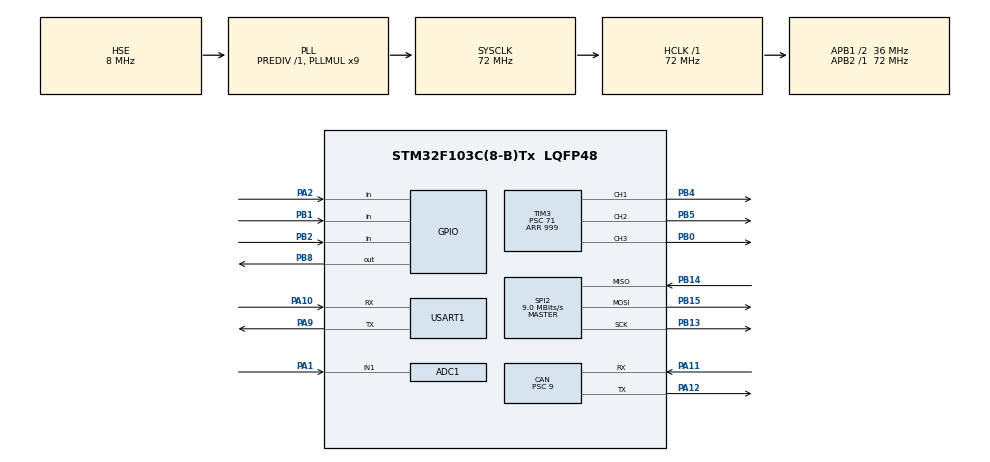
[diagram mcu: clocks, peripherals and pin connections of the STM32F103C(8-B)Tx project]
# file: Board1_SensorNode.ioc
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ADC1.Channel-1\#ChannelRegularConversion=ADC_CHANNEL_1
ADC1.ContinuousConvMode=ENABLE
ADC1.NbrOfConversionFlag=1
ADC1.Rank-1\#ChannelRegularConversion=1
ADC1.SamplingTime-1\#ChannelRegularConversion=ADC_SAMPLETIME_1CYCLE_5
ADC1.master=1
CAN.BS1=CAN_BS1_5TQ
CAN.BS2=CAN_BS2_2TQ
CAN.CalculateBaudRate=500000
CAN.CalculateTimeBit=2000
CAN.CalculateTimeQuantum=250.0
CAN.Mode=CAN_MODE_LOOPBACK
CAN.Prescaler=9
Dma.ADC1.0.Direction=DMA_PERIPH_TO_MEMORY
Dma.ADC1.0.Instance=DMA1_Channel1
Dma.ADC1.0.MemDataAlignment=DMA_MDATAALIGN_HALFWORD
Dma.ADC1.0.MemInc=DMA_MINC_ENABLE
Dma.ADC1.0.Mode=DMA_CIRCULAR
Dma.ADC1.0.PeriphDataAlignment=DMA_PDATAALIGN_HALFWORD
Dma.ADC1.0.PeriphInc=DMA_PINC_DISABLE
Dma.ADC1.0.Priority=DMA_PRIORITY_LOW
Dma.Request0=ADC1
FREERTOS.Tasks01=defaultTask,24,128,StartDefaultTask,Default,NULL,Dynamic,NULL,NULL
FREERTOS.configTOTAL_HEAP_SIZE=10240
Mcu.Family=STM32F1
Mcu.Name=STM32F103C(8-B)Tx
Mcu.Package=LQFP48
NVIC.DMA1_Channel1_IRQn=true\:5\:0\:false\:false\:true\:true\:false\:true\:true
NVIC.PriorityGroup=NVIC_PRIORITYGROUP_4
PA1.Signal=ADCx_IN1
PA10.Mode=Asynchronous
PA10.Signal=USART1_RX
PA11.Mode=CAN_Activate
PA11.Signal=CAN_RX
PA12.Mode=CAN_Activate
PA12.Signal=CAN_TX
PA13.Mode=Serial_Wire
PA13.Signal=SYS_JTMS-SWDIO
PA14.Mode=Serial_Wire
PA14.Signal=SYS_JTCK-SWCLK
PA2.GPIO_PuPd=GPIO_PULLUP
PA2.Signal=GPIO_Input
PA9.Mode=Asynchronous
PA9.Signal=USART1_TX
PB0.Signal=S_TIM3_CH3
PB1.GPIO_PuPd=GPIO_PULLUP
PB1.Signal=GPIO_Input
PB13.Mode=Full_Duplex_Master
PB13.Signal=SPI2_SCK
PB14.Mode=Full_Duplex_Master
PB14.Signal=SPI2_MISO
PB15.Mode=Full_Duplex_Master
PB15.Signal=SPI2_MOSI
PB2.GPIO_PuPd=GPIO_PULLUP
PB2.Signal=GPIO_Input
PB4.Signal=S_TIM3_CH1
PB5.Signal=S_TIM3_CH2
PB8.Signal=GPIO_Output
PD0-OSC_IN.Mode=HSE-External-Oscillator
PD0-OSC_IN.Signal=RCC_OSC_IN
PD1-OSC_OUT.Mode=HSE-External-Oscillator
PD1-OSC_OUT.Signal=RCC_OSC_OUT
ProjectManager.HeapSize=0x200
ProjectManager.StackSize=0x400
ProjectManager.TargetToolchain=Makefile
RCC.ADCPresc=RCC_ADCPCLK2_DIV6
RCC.AHBFreq_Value=72000000
RCC.APB1CLKDivider=RCC_HCLK_DIV2
RCC.APB1Freq_Value=36000000
RCC.APB1TimFreq_Value=72000000
RCC.APB2Freq_Value=72000000
RCC.APB2TimFreq_Value=72000000
RCC.HCLKFreq_Value=72000000
RCC.PLLMUL=RCC_PLL_MUL9
RCC.PLLSourceVirtual=RCC_PLLSOURCE_HSE
RCC.SYSCLKFreq_VALUE=72000000
RCC.SYSCLKSource=RCC_SYSCLKSOURCE_PLLCLK
RCC.USBFreq_Value=72000000
SH.ADCx_IN1.0=ADC1_IN1,IN1
SH.S_TIM3_CH1.0=TIM3_CH1,PWM Generation1 CH1
SH.S_TIM3_CH2.0=TIM3_CH2,PWM Generation2 CH2
SH.S_TIM3_CH3.0=TIM3_CH3,PWM Generation3 CH3
SPI2.BaudRatePrescaler=SPI_BAUDRATEPRESCALER_4
SPI2.CalculateBaudRate=9.0 MBits/s
SPI2.Direction=SPI_DIRECTION_2LINES
SPI2.Mode=SPI_MODE_MASTER
SPI2.VirtualType=VM_MASTER
TIM3.Channel-PWM\ Generation1\ CH1=TIM_CHANNEL_1
TIM3.Channel-PWM\ Generation2\ CH2=TIM_CHANNEL_2
TIM3.Channel-PWM\ Generation3\ CH3=TIM_CHANNEL_3
TIM3.Period=999
TIM3.Prescaler=71
USART1.VirtualMode=VM_ASYNC
VP_FREERTOS_VS_CMSIS_V2.Mode=CMSIS_V2
board=custom

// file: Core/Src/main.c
/* USER CODE BEGIN Header */
/**
 ******************************************************************************
 * @file           : main.c
 * @brief          : Board1 — 传感器采集节点  FreeRTOS + CAN TX
 ******************************************************************************
 */
/* USER CODE END Header */
#include "main.h"
#include "cmsis_os.h"

/* USER CODE BEGIN Includes */
#include "dht11.h"
#include "rgb_led.h"
#include "adc_dma.h"
#include "w25q64.h"
#include "can_protocol.h"
#include "system_status.h"
#include "key.h"
#include "rgb_modes.h"
#include "threshold.h"
#include "can_command.h"
#include <stdio.h>
#include <string.h>
/* USER CODE END Includes */

/* USER CODE BEGIN PTD */

typedef struct {
    DHT11_Data_t dht11;
    ADC_Data_t   adc;
    TickType_t   tick;
} SensorData_t;

/* USER CODE END PTD */

/* USER CODE BEGIN PD */

#define SENSOR_QUEUE_SIZE     8
#define EVENT_SENSOR_OK       0x0001
#define EVENT_SENSOR_ERROR    0x0002
#define EVENT_CAN_TX_DONE     0x0004

/* USER CODE END PD */

ADC_HandleTypeDef hadc1;
DMA_HandleTypeDef hdma_adc1;

CAN_HandleTypeDef hcan;

SPI_HandleTypeDef hspi2;

TIM_HandleTypeDef htim3;

UART_HandleTypeDef huart1;

/* Definitions for defaultTask */
osThreadId_t defaultTaskHandle;
const osThreadAttr_t defaultTask_attributes = {
  .name = "defaultTask",
  .stack_size = 128 * 4,
  .priority = (osPriority_t) osPriorityNormal,
};
/* USER CODE BEGIN PV */

/* ADC DMA 循环缓冲区 (2通道 × 16采样 = 32) */
uint16_t adc_dma_buffer[ADC_BUF_SIZE];

/* FreeRTOS 对象 */
osMessageQueueId_t SensorDataQueue;
osEventFlagsId_t  SystemEventFlags;

/* 任务句柄 */
osThreadId_t TaskDHT11Handle;
osThreadId_t TaskADCHandle;
osThreadId_t TaskCANTXHandle;
osThreadId_t TaskRGBHandle;
osThreadId_t TaskFlashLogHandle;
osThreadId_t TaskKeyScanHandle;
osThreadId_t TaskCANCMDHandle;

/* CAN RX 信号量 — ISR 唤醒命令处理 */
osSemaphoreId_t CANCmdSemaphore;

/* Flash SPI 互斥锁 (保护 W25Q64 跨任务写入) */
osMutexId_t FlashMutex;

/* stack_size 单位=字节 (CMSIS_V2). printf 实测需要 ~120w, 分配 384w=1536B */
const osThreadAttr_t task_attr_normal = {
    .name = "Task", .priority = osPriorityNormal, .stack_size = 1536
};
const osThreadAttr_t task_attr_high = {
    .name = "Task", .priority = osPriorityAboveNormal, .stack_size = 1536
};
const osThreadAttr_t task_attr_low = {
    .name = "Task", .priority = osPriorityLow, .stack_size = 1024
};

/* USER CODE END PV */

void SystemClock_Config(void);
static void MX_GPIO_Init(void);
static void MX_DMA_Init(void);
static void MX_ADC1_Init(void);
static void MX_TIM3_Init(void);
static void MX_USART1_UART_Init(void);
static void MX_CAN_Init(void);
static void MX_SPI2_Init(void);
void StartDefaultTask(void *argument);

/* USER CODE BEGIN PFP */

void Task_DHT11(void *argument);
void Task_ADC(void *argument);
void Task_CAN_TX(void *argument);
void Task_RGB(void *argument);
void Task_FlashLog(void *argument);
void Task_KeyScan(void *argument);
void Task_CAN_CMD(void *argument);

/* USER CODE END PFP */

/* USER CODE BEGIN 0 */

/* ==================== CAN RX 中断回调 (仅搬运数据) ==================== */

void HAL_CAN_RxFifo0MsgPendingCallback(CAN_HandleTypeDef *hcan_ptr)
{
    CAN_RxHeaderTypeDef rx_header;
    uint8_t rx_data[8];

    if (HAL_CAN_GetRxMessage(hcan_ptr, CAN_RX_FIFO0,
                             &rx_header, rx_data) == HAL_OK) {
        CAN_Command_ProcessRx(&rx_header, rx_data);
    }
    osSemaphoreRelease(CANCmdSemaphore);
}

/* ==================== printf 重定向 ==================== */

int __io_putchar(int ch)
{
    HAL_UART_Transmit(&huart1, (uint8_t *)&ch, 1, 10);
    return ch;
}

/* ==================== 栈溢出钩子 ==================== */
void vApplicationStackOverflowHook(TaskHandle_t xTask, char *pcTaskName)
{
    printf("\r\n!!!! STACK OVERFLOW: %s !!!!\r\n", pcTaskName);
    __disable_irq();
    while (1);
}

/* ==================== 任务实现 ==================== */

void Task_DHT11(void *argument)
{
    DHT11_Data_t dht11_data;
    SensorData_t sensor_data;

    DHT11_Init();
    vTaskDelay(pdMS_TO_TICKS(2000));   /* 等 DHT11 稳定 */

    for (;;) {
        uint8_t ret = DHT11_Read(&dht11_data);

        SystemStatus_FeedSensor();  /* 无论成败都喂狗 */

        if (ret == 0) {
            printf("[DHT11] T:%dC H:%d%%\r\n",
                   dht11_data.temperature, dht11_data.humidity);
            osEventFlagsSet(SystemEventFlags, EVENT_SENSOR_OK);
        } else {
            printf("[DHT11] Error: %d\r\n", ret);
            osEventFlagsSet(SystemEventFlags, EVENT_SENSOR_ERROR);
        }

        /* 非阻塞发送到队列 */
        sensor_data.dht11 = dht11_data;
        sensor_data.tick  = xTaskGetTickCount();
        osMessageQueuePut(SensorDataQueue, &sensor_data, 0, 0);

        vTaskDelay(pdMS_TO_TICKS(1000));
    }
}

void Task_ADC(void *argument)
{
    ADC_Data_t adc_data;

    for (;;) {
        ADC_DMA_Read(&adc_data);
        vTaskDelay(pdMS_TO_TICKS(100));
    }
}

void Task_CAN_TX(void *argument)
{
    SensorData_t sensor_data;
    CAN_SensorFrame_t data_frame;
    CAN_StatusFrame_t status_frame;
    CAN_TxHeaderTypeDef tx_header = {0};
    uint32_t tx_mailbox;

    tx_header.ExtId = 0;
    tx_header.IDE   = CAN_ID_STD;
    tx_header.RTR   = CAN_RTR_DATA;
    tx_header.TransmitGlobalTime = DISABLE;

    vTaskDelay(pdMS_TO_TICKS(1000));

    for (;;) {
        if (osMessageQueueGet(SensorDataQueue, &sensor_data, NULL,
                              pdMS_TO_TICKS(100)) == osOK) {

            /* 打包数据帧 */
            ADC_Data_t adc;
            ADC_DMA_Read(&adc);
            CAN_PackSensorFrame(&data_frame, &sensor_data.dht11, &adc);

            /* 发送 0x201 数据帧 */
            tx_header.StdId = CAN_ID_SENSOR_DATA;
            tx_header.DLC   = 8;
            uint8_t tec = (CAN1->ESR >> 16) & 0xFF;
            if (HAL_CAN_AddTxMessage(&hcan, &tx_header,
                                     (uint8_t *)&data_frame,
                                     &tx_mailbox) == HAL_OK) {
                CAN_PrintSensorFrame(&data_frame);
                /* TEC 监测: 高=异常, 低=恢复 (均需 3 次确认) */
                static uint8_t bad_cnt = 0, good_cnt = 0;
                if (tec > 127) {
                    good_cnt = 0;
                    if (++bad_cnt >= 3)
                        SystemStatus_Set(SYSTEM_ERROR2, ERR_CAN_TEC_HIGH);
                } else {
                    bad_cnt = 0;
                    if (++good_cnt >= 3 &&
                        SystemStatus_GetErrorCode() == ERR_CAN_TEC_HIGH)
                        SystemStatus_Set(SYSTEM_SAFE, ERR_NONE);
                }
            } else {
                printf("[CAN TX] Mailbox Full! TEC=%u\r\n", tec);
            }

            osEventFlagsSet(SystemEventFlags, EVENT_CAN_TX_DONE);
        }

        /* 始终喂 CAN 看门狗 (队列空≠CAN故障, 防止误报) */
        SystemStatus_FeedCAN();

        /* 始终发送 0x202 状态帧 (Board2 心跳依据) */
        CAN_PackStatusFrame(&status_frame,
                            SystemStatus_Get(),
                            SystemStatus_GetErrorCode(),
                            Threshold_GetConfig()->temp_high);
        printf("[CAN TX] Status: %s ThrT:%dC\r\n",
               SystemStatus_GetString(),
               Threshold_GetConfig()->temp_high);
        tx_header.StdId = CAN_ID_STATUS;
        tx_header.DLC   = 4;
        HAL_CAN_AddTxMessage(&hcan, &tx_header,
                             (uint8_t *)&status_frame, &tx_mailbox);

        vTaskDelay(pdMS_TO_TICKS(500));
    }
}

void Task_RGB(void *argument)
{
    SensorData_t sensor_data;
    DHT11_Data_t dht11 = {0};           /* 初始化为 0 */
    ADC_Data_t adc = {0};
    uint8_t sensor_ready = 0;           /* 收到过数据才做阈值检查 */

    /* RGB 已在 main() 和 Task_KeyScan 中初始化, 此处不需要 */
    vTaskDelay(pdMS_TO_TICKS(500));

    for (;;) {
        SystemStatus_Check();

        /* ==== 阈值检查 (KEY2 按住时跳过) ==== */
        if (osMessageQueueGet(SensorDataQueue, &sensor_data, NULL, 0) == osOK) {
            dht11 = sensor_data.dht11;
            sensor_ready = 1;
        }
        ADC_DMA_Read(&adc);

        /* KEY2 按住时: 强制 SAFE, 跳过阈值判断 */
        if (!RGB_IsKey2Override()) {
            if (sensor_ready && dht11.status == 0) {
                SystemStatus_t st = SystemStatus_Get();
                uint8_t is_can_timeout = (st == SYSTEM_ERROR2 &&
                              SystemStatus_GetErrorCode() == ERR_CAN_TIMEOUT);

                if (!is_can_timeout) {
                    ThresholdResult_t thr = Threshold_Check(dht11.temperature,
                                             adc.ch1.voltage, adc.ch2.voltage);
                    if (thr == THR_ERR_TEMP) {
                        SystemStatus_Set(SYSTEM_ERROR1, ERR_TEMP_HIGH);
                    } else if (thr == THR_ERR_VOLT) {
                        SystemStatus_Set(SYSTEM_ERROR2, ERR_VOLT_LOW);
                    } else {
                        if (st != SYSTEM_SAFE && st != SYSTEM_ERROR2) {
                            SystemStatus_Set(SYSTEM_SAFE, ERR_NONE);
                        }
                    }
                }
            }
        }

        /* ==== RGB 控制 (KEY2 按住时跳过, 由 RGB_ModeKey2Control 接管) ==== */
        if (!RGB_IsKey2Override()) {
            SystemStatus_t sys_status = SystemStatus_Get();

            if (sys_status == SYSTEM_ERROR1) {
                RGB_SetStatus(1);  /* 黄 */
            } else if (sys_status == SYSTEM_ERROR2) {
                RGB_SetStatus(2);  /* 红 */
            } else {
                RGB_ModeBreatheTick();
            }
        }

        vTaskDelay(pdMS_TO_TICKS(20));
    }
}

/**
 * @brief  Task_KeyScan — 每 10ms 扫描按键 (软件消抖), 处理模式切换
 *         PB1短按: 绿→红→绿呼吸 (3档循环)
 *         PA2短按: 温度阈值 +1°C 并保存到 Flash
 *         PA2长按: 重置温度阈值为 30°C 并保存到 Flash + 清告警 + 绿灯常亮
 */
void Task_KeyScan(void *argument)
{
    Key_Init();
    RGB_Init();
    RGB_ModeSet(MODE_GREEN_SOLID);

    uint32_t tick = 0;
    DHT11_Data_t dht11 = {0};
    ADC_Data_t   adc = {0};
    uint8_t sensor_ok = 0;
    uint8_t key2_held = 0;   /* PB2 当前是否被按住 */

    printf("[KeyScan] Started\r\n");

    for (;;) {
        /* === 读取当前状态 (一次, 全程一致) === */
        SystemStatus_t st_now = SystemStatus_Get();
        uint8_t err_now = SystemStatus_GetErrorCode();
        uint8_t in_alarm = (st_now != SYSTEM_SAFE);

        /* === 按键扫描 === */
        KeyEvent_t ev = Key_Scan();
        switch (ev) {
            case KEY_EVENT_SHORT_1:
                if (!in_alarm) {
                    printf("[BTN] PB1 short → mode %d → ", RGB_ModeGet());
                    RGB_ModeCycleNext();
                    printf("%d\r\n", RGB_ModeGet());
                }
                break;

            case KEY_EVENT_SHORT_2:
                key2_held = 0;
                RGB_ModeKey2Control(0);
                Threshold_IncTemp();
                Threshold_SaveToFlash();
                printf("[BTN] KEY2 short → temp+1, saved: %d C\r\n",
                       Threshold_GetConfig()->temp_high);
                break;

            case KEY_EVENT_LONG_2:
                Threshold_ResetTemp();
                Threshold_SaveToFlash();
                printf("[BTN] KEY2 long → temp reset to 30 C, saved\r\n");
                printf("[BTN] BEFORE clear: %s\r\n", SystemStatus_GetString());
                Threshold_ClearAlarm();
                printf("[BTN] AFTER  clear: %s\r\n", SystemStatus_GetString());
                st_now = SystemStatus_Get();
                in_alarm = 0;
                {
                    CAN_TxHeaderTypeDef hdr = {0};
                    CAN_StatusFrame_t sf;
                    uint32_t mb;
                    hdr.StdId = CAN_ID_STATUS; hdr.DLC = 4;
                    hdr.IDE = CAN_ID_STD; hdr.RTR = CAN_RTR_DATA;
                    CAN_PackStatusFrame(&sf, SYSTEM_SAFE, ERR_NONE,
                                       Threshold_GetConfig()->temp_high);
                    if (HAL_CAN_AddTxMessage(&hcan, &hdr, (uint8_t*)&sf, &mb) != HAL_OK)
                        printf("[BTN] WARN: immediate tx failed!\r\n");
                    else
                        printf("[BTN] Immediate SAFE frame sent OK\r\n");
                }
                /* fall through */
            case KEY_EVENT_PRESS_2:
                if (!key2_held) {
                    printf("[BTN] PA2 hold → SAFE\r\n");
                    RGB_ModeKey2Control(1);
                    key2_held = 1;
                }
                break;

            case KEY_EVENT_RELEASE_2:
                printf("[BTN] PA2 release → OFF\r\n");
                RGB_ModeKey2Control(0);
                key2_held = 0;
                RGB_ModeSet(MODE_OFF);
                break;

            default:
                break;
        }

        /* === 每 500ms: 检查 + 阈值 (PA2 按住时全部跳过) === */
        tick++;
        if (tick % 50 == 0) {
            if (!key2_held) {
                SystemStatus_Check();
                if (osMessageQueueGet(SensorDataQueue, &dht11, NULL, 0) == osOK) {
                    if (dht11.status == 0) sensor_ok = 1;
                }
                ADC_DMA_Read(&adc);
                /* 电压检测不依赖 DHT11, 上电即可工作 */
                ThresholdResult_t thr = Threshold_Check(dht11.temperature,
                                         adc.ch1.voltage, adc.ch2.voltage);
                if (thr == THR_ERR_TEMP) {
                    SystemStatus_Set(SYSTEM_ERROR1, ERR_TEMP_HIGH);
                } else if (thr == THR_ERR_VOLT) {
                    SystemStatus_Set(SYSTEM_ERROR2, ERR_VOLT_LOW);
                } else if (SystemStatus_GetErrorCode() == ERR_TEMP_HIGH ||
                           SystemStatus_GetErrorCode() == ERR_VOLT_LOW) {
                    SystemStatus_Set(SYSTEM_SAFE, ERR_NONE);
                }
                st_now = SystemStatus_Get();    /* 刷新 */
                err_now = SystemStatus_GetErrorCode();
                in_alarm = (st_now != SYSTEM_SAFE);
            }
        }

        /* === 每 5s 打印 (含滤波对比) === */
        if (tick % 500 == 0) {
            uint32_t tsr = CAN1->TSR;
            uint32_t esr = CAN1->ESR;
            /* 单次原始采样 (无滤波, DMA 缓冲区第一个数据) */
            uint16_t raw_single = ADC_DMA_ReadRaw(0);
            float    raw_v      = ADC_ToVoltage(raw_single);
            /* 16-sample 均值滤波 (ADC_DMA_Read 输出) */
            float    mean_v     = adc.ch1.voltage;
            /* EMA 滤波 (对均值进一步平滑) */
            float    ema_v      = ADC_EMA_Filter(mean_v, 0);
            printf("[INFO] t=%lus mode=%d status=%s "
                   "T=%dC | "
                   "CH1 raw=%u.%02uV avg=%u.%02uV ema=%u.%02uV | "
                   "CAN TSR=%04lX TEC=%lu REC=%lu\r\n",
                   (uint32_t)(xTaskGetTickCount() / 1000),
                   RGB_ModeGet(), SystemStatus_GetString(),
                   dht11.temperature,
                   (unsigned int)raw_v,
                   (unsigned int)(raw_v * 100.0f) % 100,
                   (unsigned int)mean_v,
                   (unsigned int)(mean_v * 100.0f) % 100,
                   (unsigned int)ema_v,
                   (unsigned int)(ema_v * 100.0f) % 100,
                   (unsigned long)(tsr & 0xFFFF),
                   (unsigned long)((esr >> 16) & 0xFF),
                   (unsigned long)((esr >> 24) & 0xFF));
        }

        /* === RGB 控制 (PA2 按住时绿灯优先) === */
        static uint8_t was_alarm = 0;
        if (key2_held) {
            was_alarm = 0;
        } else if (in_alarm) {
            was_alarm = 1;
            if (st_now == SYSTEM_ERROR1)
                RGB_SetColor(999, 0, 0);
            else if (err_now == ERR_CAN_TIMEOUT || err_now == ERR_CAN_TEC_HIGH)
                RGB_SetColor(0, 0, 999);
            else
                RGB_AlarmRedBreatheTick();
        } else {
            if (was_alarm) {
                RGB_ModeSet(RGB_ModeGet());  /* 刚从告警恢复: 立即恢复模式色 */
                was_alarm = 0;
            }
            RGB_ModeBreatheTick();
        }

        vTaskDelay(pdMS_TO_TICKS(10));
    }
}

/**
 * @brief  Task_CAN_CMD — 等待 0x301 命令帧, 清告警并回复
 */
void Task_CAN_CMD(void *argument)
{
    CAN_Command_Init();
    CAN_Command_Start();

    printf("[CAN CMD] Ready, Filter: 0x301\r\n");

    for (;;) {
        /* 等待 CAN RX 中断信号量 */
        if (osSemaphoreAcquire(CANCmdSemaphore, osWaitForever) == osOK) {
            CAN_Command_ProcessTask();  /* 任务中处理: 清告警 + 回复 */
        }
    }
}

void Task_FlashLog(void *argument)
{
    W25Q64_JEDEC_t jedec;
    FlashLogEntry_t entry;
    SensorData_t sensor_data;
    ADC_Data_t adc;
    ThresholdConfig_t *thr_cfg;

    W25Q64_Init();

    /* 读取并打印 JEDEC ID */
    W25Q64_ReadJEDEC(&jedec);
    printf("[Flash] JEDEC ID: 0x%02X%02X%02X\r\n",
           jedec.manufacturer, jedec.memory_type, jedec.capacity);

    if (jedec.manufacturer != 0xEF ||
        jedec.memory_type  != 0x40 ||
        jedec.capacity     != 0x17) {
        printf("[Flash] WARNING: Unexpected JEDEC!\r\n");
    }

    /* 从 Flash 加载阈值 (必须在 W25Q64_Init 之后) */
    Threshold_LoadFromFlash();

    /* 打印当前阈值 */
    thr_cfg = Threshold_GetConfig();
    printf("[Threshold] Current: temp_high=%d C, volt_low=%d.%02dV, enabled=%d\r\n",
           thr_cfg->temp_high, thr_cfg->volt_low / 100,
           thr_cfg->volt_low % 100, thr_cfg->enabled);

    W25Q64_LogInit();
    printf("[Flash] Log OK, Count: %lu\r\n", W25Q64_LogGetCount());

    for (;;) {
        vTaskDelay(pdMS_TO_TICKS(10000));

        if (osMessageQueueGet(SensorDataQueue, &sensor_data, NULL, 0) == osOK) {
            ADC_DMA_Read(&adc);
            entry.timestamp   = xTaskGetTickCount() / 1000;
            entry.temperature = sensor_data.dht11.temperature;
            entry.humidity    = sensor_data.dht11.humidity;
            entry.adc_value   = adc.ch1.raw_value;
            entry.status      = sensor_data.dht11.status;

            /* Flash 写入加锁 (与阈值保存互斥) */
            if (osMutexAcquire(FlashMutex, pdMS_TO_TICKS(100)) == osOK) {
                W25Q64_LogAppend(&entry);
                osMutexRelease(FlashMutex);
                printf("[Flash] Saved, Total: %lu\r\n",
                       W25Q64_LogGetCount());
            }
        }
    }
}

/* USER CODE END 0 */

int main(void)
{

  /* MCU Configuration--------------------------------------------------------*/

  /* Reset of all peripherals, Initializes the Flash interface and the Systick. */
  HAL_Init();

  /* Configure the system clock */
  SystemClock_Config();

  /* Initialize all configured peripherals */
  MX_GPIO_Init();
  MX_DMA_Init();
  MX_ADC1_Init();
  ADC_DMA_Init();           /* 在调度器启动前开始 DMA */
  ADC_EMA_Init();           /* EMA 滤波器初始化 */
  MX_TIM3_Init();
  MX_USART1_UART_Init();
  MX_CAN_Init();
  MX_SPI2_Init();
  /* USER CODE BEGIN 2 */

  /* 外设初始化 */
  SystemStatus_Init();
  Key_Init();           /* 按键 PB1/PB2, 输入上拉 */
  RGB_Init();           /* RGB TIM3 PWM */
  RGB_ModeSet(MODE_GREEN_SOLID);
  HAL_CAN_Start(&hcan);
  CAN_Command_Init();  /* CAN RX 过滤器 (0x301) */
  CAN_Command_Start(); /* CAN RX 中断使能 */

  /* 禁用 printf 缓冲 — 确保数据立即发送 */
  setvbuf(stdout, NULL, _IONBF, 0);

  /* 禁用 printf 缓冲 */
  setvbuf(stdout, NULL, _IONBF, 0);

  printf("\r\n========================================\r\n");
  printf("  Board1: Sensor Node\r\n");
  printf("  STM32F103C8T6  FreeRTOS  CAN 500kbps\r\n");
  printf("========================================\r\n");

  /* USER CODE END 2 */

  /* Init scheduler */
  osKernelInitialize();

  /* USER CODE BEGIN RTOS_SEMAPHORES */

  CANCmdSemaphore = osSemaphoreNew(10, 0, NULL);

  /* USER CODE END RTOS_SEMAPHORES */

  /* USER CODE BEGIN RTOS_QUEUES */

  SensorDataQueue = osMessageQueueNew(SENSOR_QUEUE_SIZE,
                                      sizeof(SensorData_t), NULL);

  FlashMutex = osMutexNew(NULL);

  /* USER CODE END RTOS_QUEUES */

  /* Create the thread(s) */
  /* creation of defaultTask */
  defaultTaskHandle = osThreadNew(StartDefaultTask, NULL, &defaultTask_attributes);

  /* USER CODE BEGIN RTOS_THREADS */

  /* 全部任务恢复 */
  TaskDHT11Handle    = osThreadNew(Task_DHT11,    NULL, &task_attr_normal);
  TaskADCHandle      = osThreadNew(Task_ADC,      NULL, &task_attr_normal);
  TaskCANTXHandle    = osThreadNew(Task_CAN_TX,   NULL, &task_attr_high);
  TaskCANCMDHandle   = osThreadNew(Task_CAN_CMD,  NULL, &task_attr_high);
  TaskKeyScanHandle  = osThreadNew(Task_KeyScan,  NULL, &task_attr_high);
  TaskRGBHandle      = osThreadNew(Task_RGB,      NULL, &task_attr_normal);
  TaskFlashLogHandle = osThreadNew(Task_FlashLog, NULL, &task_attr_low);

  /* USER CODE END RTOS_THREADS */

  /* USER CODE BEGIN RTOS_EVENTS */

  SystemEventFlags = osEventFlagsNew(NULL);

  /* USER CODE END RTOS_EVENTS */

  /* Start scheduler */
  osKernelStart();

  /* We should never get here as control is now taken by the scheduler */

  /* Infinite loop */
  while (1)
  {

  }
}

void SystemClock_Config(void)
{
  RCC_OscInitTypeDef RCC_OscInitStruct = {0};
  RCC_ClkInitTypeDef RCC_ClkInitStruct = {0};
  RCC_PeriphCLKInitTypeDef PeriphClkInit = {0};

  /** Initializes the RCC Oscillators according to the specified parameters
  * in the RCC_OscInitTypeDef structure.
  */
  RCC_OscInitStruct.OscillatorType = RCC_OSCILLATORTYPE_HSE;
  RCC_OscInitStruct.HSEState = RCC_HSE_ON;
  RCC_OscInitStruct.HSEPredivValue = RCC_HSE_PREDIV_DIV1;
  RCC_OscInitStruct.HSIState = RCC_HSI_ON;
  RCC_OscInitStruct.PLL.PLLState = RCC_PLL_ON;
  RCC_OscInitStruct.PLL.PLLSource = RCC_PLLSOURCE_HSE;
  RCC_OscInitStruct.PLL.PLLMUL = RCC_PLL_MUL9;
  if (HAL_RCC_OscConfig(&RCC_OscInitStruct) != HAL_OK)
  {
    Error_Handler();
  }

  /** Initializes the CPU, AHB and APB buses clocks
  */
  RCC_ClkInitStruct.ClockType = RCC_CLOCKTYPE_HCLK|RCC_CLOCKTYPE_SYSCLK
                              |RCC_CLOCKTYPE_PCLK1|RCC_CLOCKTYPE_PCLK2;
  RCC_ClkInitStruct.SYSCLKSource = RCC_SYSCLKSOURCE_PLLCLK;
  RCC_ClkInitStruct.AHBCLKDivider = RCC_SYSCLK_DIV1;
  RCC_ClkInitStruct.APB1CLKDivider = RCC_HCLK_DIV2;
  RCC_ClkInitStruct.APB2CLKDivider = RCC_HCLK_DIV1;

  if (HAL_RCC_ClockConfig(&RCC_ClkInitStruct, FLASH_LATENCY_2) != HAL_OK)
  {
    Error_Handler();
  }
  PeriphClkInit.PeriphClockSelection = RCC_PERIPHCLK_ADC;
  PeriphClkInit.AdcClockSelection = RCC_ADCPCLK2_DIV6;
  if (HAL_RCCEx_PeriphCLKConfig(&PeriphClkInit) != HAL_OK)
  {
    Error_Handler();
  }
}

static void MX_ADC1_Init(void)
{

  ADC_ChannelConfTypeDef sConfig = {0};

  /** Common config
  */
  hadc1.Instance = ADC1;
  hadc1.Init.ScanConvMode = ADC_SCAN_ENABLE;       /* 扫描模式: CH1→CH3 */
  hadc1.Init.ContinuousConvMode = ENABLE;
  hadc1.Init.DiscontinuousConvMode = DISABLE;
  hadc1.Init.ExternalTrigConv = ADC_SOFTWARE_START;
  hadc1.Init.DataAlign = ADC_DATAALIGN_RIGHT;
  hadc1.Init.NbrOfConversion = 2;                  /* 2 通道 */
  if (HAL_ADC_Init(&hadc1) != HAL_OK)
  {
    Error_Handler();
  }

  /** CH1: PA1 = ADC_IN1 */
  sConfig.Channel = ADC_CHANNEL_1;
  sConfig.Rank = ADC_REGULAR_RANK_1;
  sConfig.SamplingTime = ADC_SAMPLETIME_1CYCLE_5;
  if (HAL_ADC_ConfigChannel(&hadc1, &sConfig) != HAL_OK)
  {
    Error_Handler();
  }

  /** CH2: PA3 = ADC_IN3 */
  sConfig.Channel = ADC_CHANNEL_3;
  sConfig.Rank = ADC_REGULAR_RANK_2;
  sConfig.SamplingTime = ADC_SAMPLETIME_1CYCLE_5;
  if (HAL_ADC_ConfigChannel(&hadc1, &sConfig) != HAL_OK)
  {
    Error_Handler();
  }

}

static void MX_CAN_Init(void)
{

  hcan.Instance = CAN1;
  hcan.Init.Prescaler = 9;
  hcan.Init.Mode = CAN_MODE_NORMAL;
  hcan.Init.SyncJumpWidth = CAN_SJW_1TQ;
  hcan.Init.TimeSeg1 = CAN_BS1_5TQ;
  hcan.Init.TimeSeg2 = CAN_BS2_2TQ;
  hcan.Init.TimeTriggeredMode = DISABLE;
  hcan.Init.AutoBusOff = DISABLE;
  hcan.Init.AutoWakeUp = DISABLE;
  hcan.Init.AutoRetransmission = DISABLE;
  hcan.Init.ReceiveFifoLocked = DISABLE;
  hcan.Init.TransmitFifoPriority = DISABLE;
  if (HAL_CAN_Init(&hcan) != HAL_OK)
  {
    Error_Handler();
  }

}

static void MX_SPI2_Init(void)
{

  /* SPI2 parameter configuration*/
  hspi2.Instance = SPI2;
  hspi2.Init.Mode = SPI_MODE_MASTER;
  hspi2.Init.Direction = SPI_DIRECTION_2LINES;
  hspi2.Init.DataSize = SPI_DATASIZE_8BIT;
  hspi2.Init.CLKPolarity = SPI_POLARITY_LOW;
  hspi2.Init.CLKPhase = SPI_PHASE_1EDGE;
  hspi2.Init.NSS = SPI_NSS_SOFT;
  hspi2.Init.BaudRatePrescaler = SPI_BAUDRATEPRESCALER_4;
  hspi2.Init.FirstBit = SPI_FIRSTBIT_MSB;
  hspi2.Init.TIMode = SPI_TIMODE_DISABLE;
  hspi2.Init.CRCCalculation = SPI_CRCCALCULATION_DISABLE;
  hspi2.Init.CRCPolynomial = 10;
  if (HAL_SPI_Init(&hspi2) != HAL_OK)
  {
    Error_Handler();
  }

}

static void MX_TIM3_Init(void)
{

  TIM_MasterConfigTypeDef sMasterConfig = {0};
  TIM_OC_InitTypeDef sConfigOC = {0};

  htim3.Instance = TIM3;
  htim3.Init.Prescaler = 71;
  htim3.Init.CounterMode = TIM_COUNTERMODE_UP;
  htim3.Init.Period = 999;
  htim3.Init.ClockDivision = TIM_CLOCKDIVISION_DIV1;
  htim3.Init.AutoReloadPreload = TIM_AUTORELOAD_PRELOAD_DISABLE;
  if (HAL_TIM_PWM_Init(&htim3) != HAL_OK)
  {
    Error_Handler();
  }
  sMasterConfig.MasterOutputTrigger = TIM_TRGO_RESET;
  sMasterConfig.MasterSlaveMode = TIM_MASTERSLAVEMODE_DISABLE;
  if (HAL_TIMEx_MasterConfigSynchronization(&htim3, &sMasterConfig) != HAL_OK)
  {
    Error_Handler();
  }
  sConfigOC.OCMode = TIM_OCMODE_PWM1;
  sConfigOC.Pulse = 0;
  sConfigOC.OCPolarity = TIM_OCPOLARITY_HIGH;
  sConfigOC.OCFastMode = TIM_OCFAST_DISABLE;
  if (HAL_TIM_PWM_ConfigChannel(&htim3, &sConfigOC, TIM_CHANNEL_1) != HAL_OK)
  {
    Error_Handler();
  }
  if (HAL_TIM_PWM_ConfigChannel(&htim3, &sConfigOC, TIM_CHANNEL_2) != HAL_OK)
  {
    Error_Handler();
  }
  if (HAL_TIM_PWM_ConfigChannel(&htim3, &sConfigOC, TIM_CHANNEL_3) != HAL_OK)
  {
    Error_Handler();
  }
  HAL_TIM_MspPostInit(&htim3);

}

static void MX_USART1_UART_Init(void)
{

  huart1.Instance = USART1;
  huart1.Init.BaudRate = 115200;
  huart1.Init.WordLength = UART_WORDLENGTH_8B;
  huart1.Init.StopBits = UART_STOPBITS_1;
  huart1.Init.Parity = UART_PARITY_NONE;
  huart1.Init.Mode = UART_MODE_TX_RX;
  huart1.Init.HwFlowCtl = UART_HWCONTROL_NONE;
  huart1.Init.OverSampling = UART_OVERSAMPLING_16;
  if (HAL_UART_Init(&huart1) != HAL_OK)
  {
    Error_Handler();
  }

}

static void MX_DMA_Init(void)
{

  /* DMA controller clock enable */
  __HAL_RCC_DMA1_CLK_ENABLE();

  /* DMA interrupt init */
  /* DMA1_Channel1_IRQn interrupt configuration */
  HAL_NVIC_SetPriority(DMA1_Channel1_IRQn, 5, 0);
  HAL_NVIC_EnableIRQ(DMA1_Channel1_IRQn);

}

static void MX_GPIO_Init(void)
{
  GPIO_InitTypeDef GPIO_InitStruct = {0};

  /* GPIO Ports Clock Enable */
  __HAL_RCC_GPIOD_CLK_ENABLE();
  __HAL_RCC_GPIOA_CLK_ENABLE();
  __HAL_RCC_GPIOB_CLK_ENABLE();

  /*Configure GPIO pin Output Level */
  HAL_GPIO_WritePin(GPIOB, GPIO_PIN_8, GPIO_PIN_RESET);

  /*Configure GPIO pin : PA2 (按键2) */
  GPIO_InitStruct.Pin = GPIO_PIN_2;
  GPIO_InitStruct.Mode = GPIO_MODE_INPUT;
  GPIO_InitStruct.Pull = GPIO_PULLUP;
  HAL_GPIO_Init(GPIOA, &GPIO_InitStruct);

  /*Configure GPIO pin : PA3 (ADC_IN3 模拟输入) */
  GPIO_InitStruct.Pin = GPIO_PIN_3;
  GPIO_InitStruct.Mode = GPIO_MODE_ANALOG;
  GPIO_InitStruct.Pull = GPIO_NOPULL;
  HAL_GPIO_Init(GPIOA, &GPIO_InitStruct);

  /*Configure GPIO pins : PB1 PB2 */
  GPIO_InitStruct.Pin = GPIO_PIN_1|GPIO_PIN_2;
  GPIO_InitStruct.Mode = GPIO_MODE_INPUT;
  GPIO_InitStruct.Pull = GPIO_PULLUP;
  HAL_GPIO_Init(GPIOB, &GPIO_InitStruct);

  /*Configure GPIO pin : PB8 */
  GPIO_InitStruct.Pin = GPIO_PIN_8;
  GPIO_InitStruct.Mode = GPIO_MODE_OUTPUT_PP;
  GPIO_InitStruct.Pull = GPIO_NOPULL;
  GPIO_InitStruct.Speed = GPIO_SPEED_FREQ_LOW;
  HAL_GPIO_Init(GPIOB, &GPIO_InitStruct);

  /* USER CODE BEGIN MX_GPIO_Init_2 */

  /* PA4 = W25Q64 CS (软件 NSS, 输出推挽, 默认高 = 未选中) */
  GPIO_InitStruct.Pin = GPIO_PIN_4;
  GPIO_InitStruct.Mode = GPIO_MODE_OUTPUT_PP;
  GPIO_InitStruct.Pull = GPIO_NOPULL;
  GPIO_InitStruct.Speed = GPIO_SPEED_FREQ_HIGH;
  HAL_GPIO_Init(GPIOA, &GPIO_InitStruct);
  HAL_GPIO_WritePin(GPIOA, GPIO_PIN_4, GPIO_PIN_SET);

  /* USER CODE END MX_GPIO_Init_2 */
}

void StartDefaultTask(void *argument)
{
  for(;;)
  {
    osDelay(1);
  }
}

void Error_Handler(void)
{
  __disable_irq();
  while (1)
  {
  }
}
